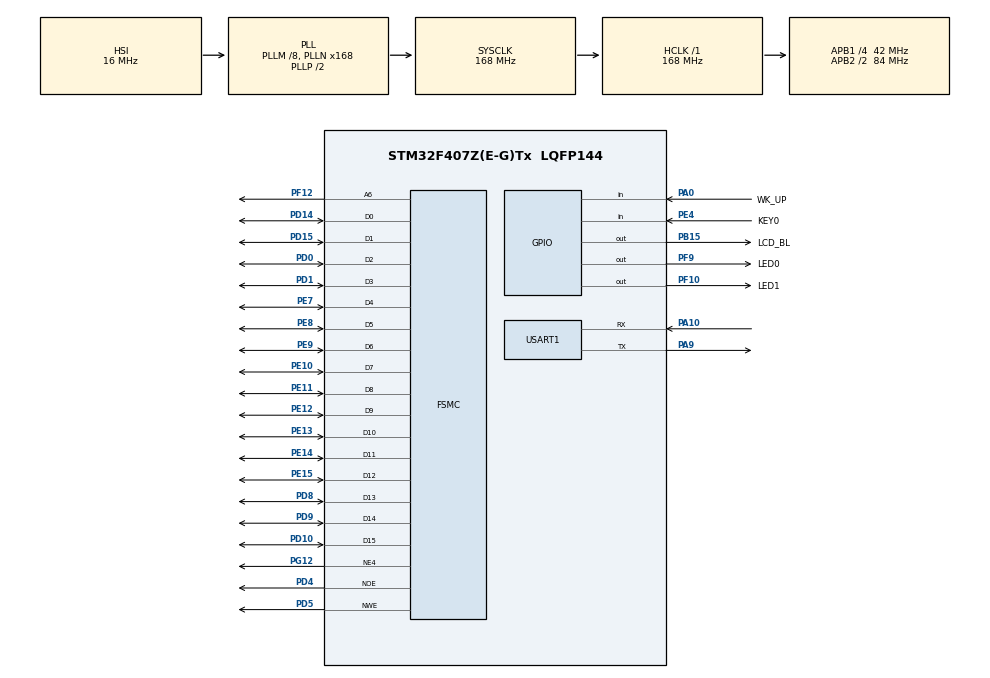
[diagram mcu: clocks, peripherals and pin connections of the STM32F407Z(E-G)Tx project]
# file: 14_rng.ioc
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FSMC.AddressSetupTime1=15
FSMC.BusTurnAroundDuration1=0
FSMC.DataSetupTime1=60
FSMC.ExtendedAddressSetupTime1=9
FSMC.ExtendedBusTurnAroundDuration1=0
FSMC.ExtendedDataSetupTime1=9
FSMC.ExtendedMode1=FSMC_EXTENDED_MODE_ENABLE
Mcu.Family=STM32F4
Mcu.Name=STM32F407Z(E-G)Tx
Mcu.Package=LQFP144
NVIC.HASH_RNG_IRQn=true\:2\:1\:true\:false\:true\:true\:true\:true
NVIC.PriorityGroup=NVIC_PRIORITYGROUP_2
NVIC.USART1_IRQn=true\:2\:2\:true\:false\:true\:true\:true\:true
PA0-WKUP.GPIO_Label=WK_UP
PA0-WKUP.GPIO_PuPd=GPIO_PULLDOWN
PA0-WKUP.Signal=GPIO_Input
PA10.GPIO_PuPd=GPIO_PULLUP
PA10.Mode=Asynchronous
PA10.Signal=USART1_RX
PA13.Mode=Serial_Wire
PA13.Signal=SYS_JTMS-SWDIO
PA14.Mode=Serial_Wire
PA14.Signal=SYS_JTCK-SWCLK
PA9.GPIO_PuPd=GPIO_PULLUP
PA9.Mode=Asynchronous
PA9.Signal=USART1_TX
PB15.GPIO_Label=LCD_BL
PB15.GPIO_PuPd=GPIO_PULLUP
PB15.GPIO_Speed=GPIO_SPEED_FREQ_VERY_HIGH
PB15.PinState=GPIO_PIN_SET
PB15.Signal=GPIO_Output
PC14-OSC32_IN.Mode=LSE-External-Oscillator
PC14-OSC32_IN.Signal=RCC_OSC32_IN
PC15-OSC32_OUT.Mode=LSE-External-Oscillator
PC15-OSC32_OUT.Signal=RCC_OSC32_OUT
PD0.Signal=FSMC_D2_DA2
PD1.Signal=FSMC_D3_DA3
PD10.Signal=FSMC_D15_DA15
PD14.Signal=FSMC_D0_DA0
PD15.Signal=FSMC_D1_DA1
PD4.Signal=FSMC_NOE
PD5.Signal=FSMC_NWE
PD8.Signal=FSMC_D13_DA13
PD9.Signal=FSMC_D14_DA14
PE10.Signal=FSMC_D7_DA7
PE11.Signal=FSMC_D8_DA8
PE12.Signal=FSMC_D9_DA9
PE13.Signal=FSMC_D10_DA10
PE14.Signal=FSMC_D11_DA11
PE15.Signal=FSMC_D12_DA12
PE4.GPIO_Label=KEY0
PE4.GPIO_PuPd=GPIO_PULLDOWN
PE4.Signal=GPIO_Input
PE7.Signal=FSMC_D4_DA4
PE8.Signal=FSMC_D5_DA5
PE9.Signal=FSMC_D6_DA6
PF10.GPIO_Label=LED1
PF10.GPIO_PuPd=GPIO_PULLDOWN
PF10.GPIO_Speed=GPIO_SPEED_FREQ_VERY_HIGH
PF10.PinState=GPIO_PIN_SET
PF10.Signal=GPIO_Output
PF12.Signal=FSMC_A6
PF9.GPIO_Label=LED0
PF9.GPIO_PuPd=GPIO_PULLDOWN
PF9.GPIO_Speed=GPIO_SPEED_FREQ_VERY_HIGH
PF9.PinState=GPIO_PIN_SET
PF9.Signal=GPIO_Output
PG12.Mode=NorPsramChipSelect4_1
PG12.Signal=FSMC_NE4
PH0-OSC_IN.Mode=HSE-External-Oscillator
PH0-OSC_IN.Signal=RCC_OSC_IN
PH1-OSC_OUT.Mode=HSE-External-Oscillator
PH1-OSC_OUT.Signal=RCC_OSC_OUT
ProjectManager.HeapSize=0x200
ProjectManager.StackSize=0x400
ProjectManager.TargetToolchain=STM32CubeIDE
RCC.48MHZClocksFreq_Value=48000000
RCC.AHBFreq_Value=168000000
RCC.APB1CLKDivider=RCC_HCLK_DIV4
RCC.APB1Freq_Value=42000000
RCC.APB1TimFreq_Value=84000000
RCC.APB2CLKDivider=RCC_HCLK_DIV2
RCC.APB2Freq_Value=84000000
RCC.APB2TimFreq_Value=168000000
RCC.CortexFreq_Value=168000000
RCC.HCLKFreq_Value=168000000
RCC.HSE_VALUE=25000000
RCC.HSI_VALUE=16000000
RCC.PLLM=8
RCC.PLLN=168
RCC.PLLQ=7
RCC.SYSCLKFreq_VALUE=168000000
RCC.SYSCLKSource=RCC_SYSCLKSOURCE_PLLCLK
RCC.VCOOutputFreq_Value=336000000
SH.FSMC_A6.0=FSMC_A6,A6_1
SH.FSMC_D0_DA0.0=FSMC_D0,16b-d1
SH.FSMC_D10_DA10.0=FSMC_D10,16b-d1
SH.FSMC_D11_DA11.0=FSMC_D11,16b-d1
SH.FSMC_D12_DA12.0=FSMC_D12,16b-d1
SH.FSMC_D13_DA13.0=FSMC_D13,16b-d1
SH.FSMC_D14_DA14.0=FSMC_D14,16b-d1
SH.FSMC_D15_DA15.0=FSMC_D15,16b-d1
SH.FSMC_D1_DA1.0=FSMC_D1,16b-d1
SH.FSMC_D2_DA2.0=FSMC_D2,16b-d1
SH.FSMC_D3_DA3.0=FSMC_D3,16b-d1
SH.FSMC_D4_DA4.0=FSMC_D4,16b-d1
SH.FSMC_D5_DA5.0=FSMC_D5,16b-d1
SH.FSMC_D6_DA6.0=FSMC_D6,16b-d1
SH.FSMC_D7_DA7.0=FSMC_D7,16b-d1
SH.FSMC_D8_DA8.0=FSMC_D8,16b-d1
SH.FSMC_D9_DA9.0=FSMC_D9,16b-d1
SH.FSMC_NOE.0=FSMC_NOE,Lcd1
SH.FSMC_NWE.0=FSMC_NWE,Lcd1
USART1.VirtualMode=VM_ASYNC
VP_RNG_VS_RNG.Mode=RNG_Activate
board=custom

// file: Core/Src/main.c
/* USER CODE BEGIN Header */
/**
 ****************************************************************************************************
 * @file        main.c
 * @author      ALIENTEK
 * @brief       RNG code
 * @license     Copyright (C) 2020-2032, ALIENTEK
 ****************************************************************************************************
 * @attention
 *
 * platform     : ALIENTEK M144-STM32F407 board
 * website      : https://www.alientek.com
 * forum        : http://www.openedv.com/forum.php
 *
 * change logs  :
 * version    data    notes
 * V1.0     20240410  the first version
 *
 ****************************************************************************************************
 */
/* USER CODE END Header */
#include "main.h"
#include "rng.h"
#include "usart.h"
#include "gpio.h"
#include "fsmc.h"

/* USER CODE BEGIN Includes */
#include "../../BSP/LED/led.h"
#include "../../BSP/KEY/key.h"
#include "../../BSP/LCD/lcd.h"
#include "../../SYSTEM/delay/delay.h"
/* USER CODE END Includes */

void SystemClock_Config(void);

int main(void)
{
  /* USER CODE BEGIN 1 */
    uint8_t t = 0;
    uint8_t key;
    uint32_t random;
    int32_t random_range;
  /* USER CODE END 1 */

  /* MCU Configuration--------------------------------------------------------*/

  /* Reset of all peripherals, Initializes the Flash interface and the Systick. */
  HAL_Init();

  /* Configure the system clock */
  SystemClock_Config();

  /* USER CODE BEGIN SysInit */
  delay_init(168);
  /* USER CODE END SysInit */

  /* Initialize all configured peripherals */
  MX_GPIO_Init();
  MX_USART1_UART_Init();
  MX_FSMC_Init();
  MX_RNG_Init();
  /* USER CODE BEGIN 2 */

  lcd_init();
  lcd_show_string(30, 50, 200, 16, 16, "STM32", RED);
  lcd_show_string(30, 70, 200, 16, 16, "RNG TEST", RED);
  lcd_show_string(30, 90, 200, 16, 16, "ATOM@ALIENTEK", RED);

  lcd_show_string(30, 130, 200, 16, 16, "KEY0:Get Random Num", RED);
  lcd_show_string(30, 150, 200, 16, 16, "Random Num:", RED);
  lcd_show_string(30, 170, 200, 16, 16, "Random Num[0-9]:", RED);

  /* USER CODE END 2 */

  /* Infinite loop */
  while (1)
  {

      key = key_scan(0);
      if (key == KEY0_PRES)
      {
          /* Get random number */
          random = rng_get_random();
          lcd_show_num(30 + 8 * 11, 150, random, 10, 16, BLUE);
      }

      if (++t == 20)
      {
          t = 0;
          LED0_TOGGLE();

          /* Get a random number within the specified range */
          random_range = rng_get_random_range(0, 9);
          lcd_show_num(30 + 8 * 16, 170, random_range, 1, 16, BLUE);
      }

      HAL_Delay(10);

  }
}

void SystemClock_Config(void)
{
  RCC_OscInitTypeDef RCC_OscInitStruct = {0};
  RCC_ClkInitTypeDef RCC_ClkInitStruct = {0};

  /** Configure the main internal regulator output voltage
  */
  __HAL_RCC_PWR_CLK_ENABLE();
  __HAL_PWR_VOLTAGESCALING_CONFIG(PWR_REGULATOR_VOLTAGE_SCALE1);

  /** Initializes the RCC Oscillators according to the specified parameters
  * in the RCC_OscInitTypeDef structure.
  */
  RCC_OscInitStruct.OscillatorType = RCC_OSCILLATORTYPE_HSI;
  RCC_OscInitStruct.HSIState = RCC_HSI_ON;
  RCC_OscInitStruct.HSICalibrationValue = RCC_HSICALIBRATION_DEFAULT;
  RCC_OscInitStruct.PLL.PLLState = RCC_PLL_ON;
  RCC_OscInitStruct.PLL.PLLSource = RCC_PLLSOURCE_HSI;
  RCC_OscInitStruct.PLL.PLLM = 8;
  RCC_OscInitStruct.PLL.PLLN = 168;
  RCC_OscInitStruct.PLL.PLLP = RCC_PLLP_DIV2;
  RCC_OscInitStruct.PLL.PLLQ = 7;
  if (HAL_RCC_OscConfig(&RCC_OscInitStruct) != HAL_OK)
  {
    Error_Handler();
  }

  /** Initializes the CPU, AHB and APB buses clocks
  */
  RCC_ClkInitStruct.ClockType = RCC_CLOCKTYPE_HCLK|RCC_CLOCKTYPE_SYSCLK
                              |RCC_CLOCKTYPE_PCLK1|RCC_CLOCKTYPE_PCLK2;
  RCC_ClkInitStruct.SYSCLKSource = RCC_SYSCLKSOURCE_PLLCLK;
  RCC_ClkInitStruct.AHBCLKDivider = RCC_SYSCLK_DIV1;
  RCC_ClkInitStruct.APB1CLKDivider = RCC_HCLK_DIV4;
  RCC_ClkInitStruct.APB2CLKDivider = RCC_HCLK_DIV2;

  if (HAL_RCC_ClockConfig(&RCC_ClkInitStruct, FLASH_LATENCY_5) != HAL_OK)
  {
    Error_Handler();
  }
}

void Error_Handler(void)
{
  __disable_irq();
  while (1)
  {
  }
}
